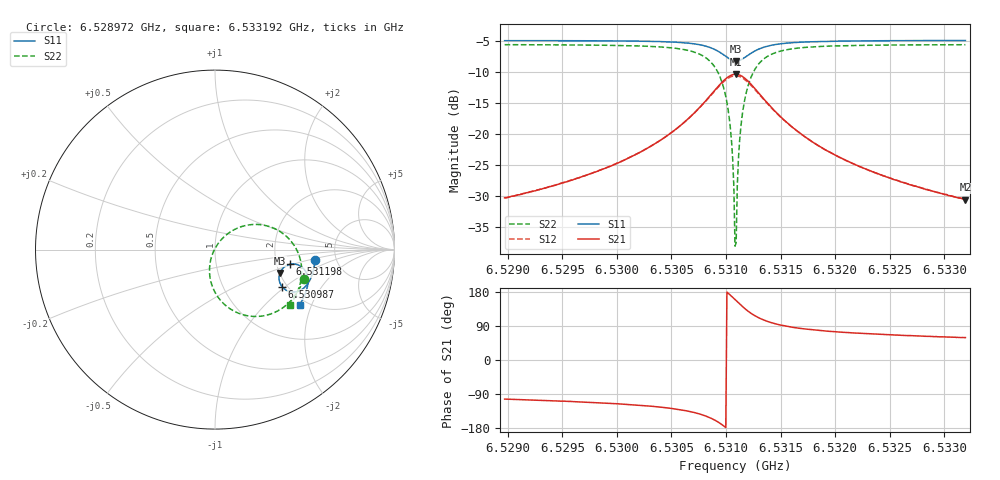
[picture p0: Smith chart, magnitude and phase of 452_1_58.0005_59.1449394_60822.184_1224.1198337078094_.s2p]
#  HZ  S  RI  R  50.00
! Rohde & Schwarz Vector Network Analyzer
! Rohde-Schwarz,ZNB20-2Port,1311601062101988,3.16
! Created: UTC 3/21/2024, 1:10:35 AM
! freq[Hz]  re:S11  im:S11  re:S21  im:S21  re:S12  im:S12  re:S22  im:S22
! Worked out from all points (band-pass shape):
!   401 points, 6.528972 GHz to 6.533192 GHz, reference 50 ohm
!   highest |S21| = -10.42 dB at 6.531092 GHz (marker M1); lowest = -30.6 dB at 6.533192 GHz (marker M2)
!   |S21| within 3 dB of the highest: 6.530876 GHz to 6.531298 GHz (422.2 kHz wide, 0.00646 % of centre)
!   lowest |S11| = -8.3 dB at 6.531092 GHz (marker M3), VSWR 2.25, Z = 100 - j30.7 ohm
!   |S11| at or under -10 dB: nowhere
!   |S22| runs from -38.0 to -5.7 dB; largest |S21 - S12| = 0.011
!   S11 on the Smith chart (normalised r, x): 6.528972 GHz: 3.44, -0.59; 6.530987 GHz: 1.88, -0.95; 6.531198 GHz: 2.37, -0.47; 6.533192 GHz: 1.82, -1.64
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6.5289718e9  0.5578 -0.0586  -0.00701 -0.0298  -0.00747 -0.0296  0.4949 -0.1617
6.5296786e9  0.5477 -0.1169  -0.016 -0.0423  -0.0171 -0.0419  0.465 -0.2271
6.5303855e9  0.5196 -0.186  -0.0489 -0.0725  -0.0508 -0.0712  0.3856 -0.3184
6.5308076e9  0.451 -0.2352  -0.1528 -0.0985  -0.1552 -0.0925  0.1849 -0.3692
6.5309131e9  0.4076 -0.2312  -0.2203 -0.0747  -0.2199 -0.0655  0.0693 -0.3192
6.5309869e9  0.3731 -0.2057  -0.2714 -0.0195  -0.2664 -0.00993  -0.00946 -0.2184
6.5310186e9  0.3621 -0.1866  -0.2861 0.0175  -0.2785 0.0261  -0.028 -0.1544
6.5310397e9  0.3579 -0.1714  -0.2903 0.0458  -0.2816 0.053  -0.0307 -0.1067
6.5310502e9  0.3568 -0.1633  -0.2905 0.0605  -0.2811 0.067  -0.0287 -0.0822
6.5310713e9  0.3574 -0.1469  -0.2865 0.0907  -0.2762 0.0953  -0.0172 -0.0334
6.5310819e9  0.3591 -0.1385  -0.2822 0.1052  -0.2718 0.1092  -0.00783 -0.00978
6.5310924e9  0.3615 -0.1305  -0.2765 0.1197  -0.2661 0.1225  0.00389 0.0128
6.531103e9  0.365 -0.1229  -0.2695 0.1333  -0.2589 0.1353  0.0176 0.034
6.5311241e9  0.374 -0.1089  -0.2515 0.1578  -0.2416 0.158  0.0509 0.0717
6.5311346e9  0.3795 -0.1029  -0.2411 0.1686  -0.2317 0.1678  0.0696 0.0875
6.5311663e9  0.3984 -0.0891  -0.2065 0.1927  -0.1985 0.1905  0.1307 0.1221
6.5311979e9  0.4185 -0.0818  -0.1702 0.2057  -0.1641 0.2027  0.1929 0.1382
6.5312718e9  0.4596 -0.0843  -0.098 0.2048  -0.0949 0.2019  0.3147 0.1242
6.5313773e9  0.4945 -0.1071  -0.0368 0.1735  -0.0354 0.1719  0.4144 0.0575
6.5317887e9  0.5182 -0.1848  0.0154 0.0851  0.0164 0.0848  0.4832 -0.1275
6.5324956e9  0.4983 -0.2564  0.0177 0.0406  0.0183 0.0405  0.4556 -0.2449
6.533192e9  0.4712 -0.3079  0.0152 0.0254  0.0159 0.0253  0.4206 -0.3064
